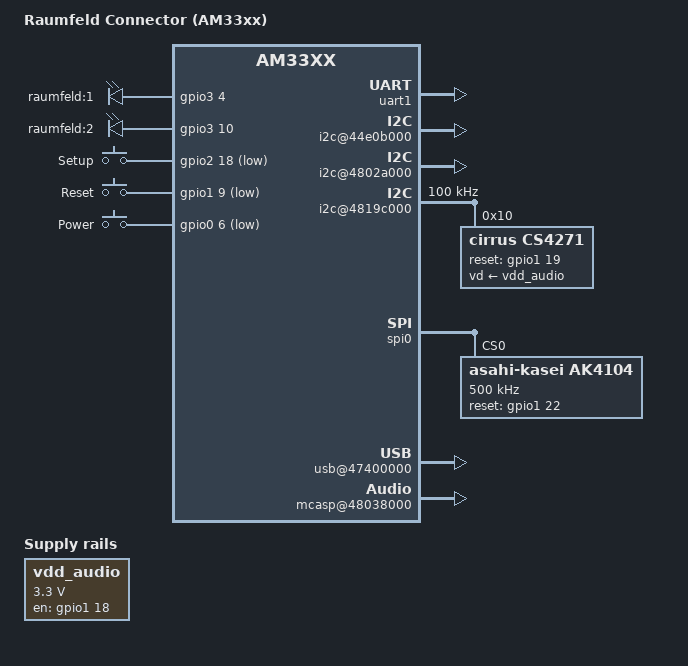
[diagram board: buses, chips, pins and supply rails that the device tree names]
/*
 * This program is free software; you can redistribute it and/or modify
 * it under the terms of the GNU General Public License version 2 as
 * published by the Free Software Foundation.
 */

/ {
	model = "Raumfeld Connector (AM33xx)";
	compatible = "ti,am335x-raumfeld-connector", "ti,am33xx";

	chosen {
		bootargs = "console=ttyO0,115200n8";
	};

	am3358_pinmux: pinmux@44e10800 {
		spi0_pins: pinmux_spi0_pins {
			pinctrl-single,pins = <
				0x150 0x28	/* SPI0_CLK */
				0x154 0x18	/* SPI0_D0  */
				0x158 0x38	/* SPI0_D1  */
				0x15C 0x18	/* SPI0_CS0 */
				0x58  0x07	/* AK4101 reset */
			>;
		};

		i2c3_pins: pinmux_i2c3_pins {
			pinctrl-single,pins = <
				0x178 0x23	/* I2C2_SDA */
				0x17c 0x23	/* I2C2_SCL */
			>;
		};

		led_pins: pinmux_led_pins {
			pinctrl-single,pins = <
				0x80 0x7	/* GPIO1_30 */
				0x84 0x7	/* GPIO1_31 */
			>;
		};

		audio_pins: pinmux_audio_pins {
			pinctrl-single,pins = <
				0x1ac 0x28	/* MCASP0_MCLK_OUT */
				0x190 0x08	/* MCASP0_BCLK_OUT */
				0x194 0x08	/* MCASP0_WCLK_OUT */
				0x198 0x08	/* MCASP0_DATA_OUT */
				0x1a8 0x28	/* MCASP0_DATA_IN  */
				0x078 0x26	/* MCASP0_BCLK_IN  */
				0x1a4 0x28	/* MCASP0_WCLK_IN  */
				0x19c 0x28	/* MCASP0_MCLK_IN  */
				0x1a0 0x27	/* MCASP0_BCLK_IN -> GPIO */
			>;
		};
	};

	ocp {
		uart1: serial@44e09000 {
			status = "okay";
		};

		i2c@44e0b000 {
			status = "okay";
		};

		i2c@4802a000 {
			status = "okay";
		};

		i2c@4819c000 {
			status = "okay";
			pinctrl-names = "default";
			pinctrl-0 = <&i2c3_pins>;
			clock-frequency = <100000>;

			cs4271: cs4271@10 {
				compatible = "cirrus,cs4271";
				reg = <0x10>;
				reset-gpio = <&gpio1 19 0>;
				cirrus,amutec-eq-bmutec;
				cirrus,enable-soft-reset;
				vd-supply = <&vdd_audio>;
			};
		};

		spi0: spi@48030000 {
			status = "okay";
			ti,pindir-d0-out-d1-in;
			pinctrl-names = "default";
			pinctrl-0 = <&spi0_pins>;

			ak4104: ak4104@0 {
				compatible = "asahi-kasei,ak4104";
				reg = <0>; /* CS0 */
				spi-max-frequency = <500000>;
				reset-gpio = <&gpio1 22 0>;
			};
		};

		leds {
			compatible = "gpio-leds";
			pinctrl-names = "default";
			pinctrl-0 = <&led_pins>;

			d1 {
				label = "raumfeld:1";
				gpios = <&gpio3 4 0>;
			};

			d2 {
				label = "raumfeld:2";
				gpios = <&gpio3 10 0>;
				default-state = "on";
			};
		};

		gpio-keys {
			compatible = "gpio-keys";

			setup {
				label = "Setup";
				gpios = <&gpio2 18 1>;
				linux,code = <141>; /* KEY_SETUP */
				gpio-key,wakeup;
			};

			reset {
				label = "Reset";
				gpios = <&gpio1 9 1>;
				linux,code = <61>; /* KEY_F3 */
				gpio-key,wakeup;
			};

			power {
				label = "Power";
				gpios = <&gpio0 6 1>;
				linux,code = <116>; /* KEY_POWER */
				gpio-key,wakeup;
			};
		};

		usb@47400000 {
			status = "okay";
			port0-mode = <1>;
		};

		mcasp@48038000 {
			status = "okay";
			op-mode = <0>;	  /* MCASP_IIS_MODE */
			tdm-slots = <2>;
			num-serializer = <16>;
			serial-dir = <  1 2 0 0 /* 0: INACTIVE, 1: TX, 2: RX */
					0 0 0 0
					0 0 0 0
					0 0 0 0 >;
			tx-num-evt = <1>;
			rx-num-evt = <1>;
		};
	};

	audio {
		compatible = "sue,am33xx-generic-audio";
		pinctrl-names = "default";
		pinctrl-0 = <&audio_pins>;
		sue,card-name = "Connector";
		clocks = <&si5351a 0>;
		sue,invert-wclk;

		link@0 {
			sue,name = "analog";
			sue,stream-name = "I2S";

			sue,platform = <&mcasp0>;
			sue,cpu-dai-name = "48038000.mcasp";

			sue,codec = <&cs4271>;
			sue,codec-dai-name = "cs4271-hifi";
		};

		link@1 {
			sue,name = "digital";
			sue,stream-name = "I2S";

			sue,platform = <&mcasp0>;
			sue,cpu-dai-name = "48038000.mcasp";

			sue,codec = <&ak4104>;
			sue,codec-dai-name = "ak4104-hifi";
		};
	};

	vdd_audio: vdd_audio_regulator {
		compatible = "regulator-fixed";
		regulator-name = "vdd-audio";
		regulator-min-microvolt = <3300000>;
		regulator-max-microvolt = <3300000>;
		gpio = <&gpio1 18 0>;
		enable-active-high;
		regulator-boot-on;
	};
};

&cpsw_emac0 {
	phy_id = <&davinci_mdio 4>;
};
